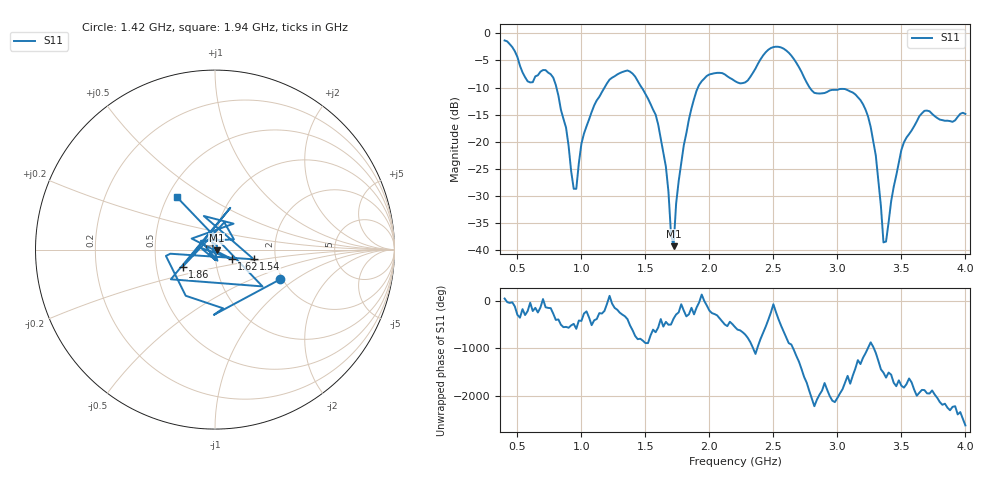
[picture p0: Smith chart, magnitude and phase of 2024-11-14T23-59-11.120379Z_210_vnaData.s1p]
!Created with skrf (http://scikit-rf.org).
# Hz S RI R 50.0
!freq ReS11 ImS11
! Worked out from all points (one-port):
!   181 points, 400 MHz to 4 GHz, reference 50 ohm
!   lowest |S11| = -39.3 dB at 1.72 GHz (marker M1), VSWR 1.02, Z = 51 - j0.382 ohm
!   |S11| at or under -10 dB: 804.8 MHz to 1.181 GHz (376.3 MHz wide, 37.9 % of centre); 1.471 GHz to 1.911 GHz (439.9 MHz wide, 26 % of centre); 2.783 GHz to end of sweep
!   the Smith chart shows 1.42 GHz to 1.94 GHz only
!   S11 on the Smith chart (normalised r, x): 1.42 GHz: 1.94, -0.76; 1.54 GHz: 1.54, -0.18; 1.62 GHz: 1.20, -0.13; 1.86 GHz: 0.68, -0.14; 1.94 GHz: 0.56, +0.38
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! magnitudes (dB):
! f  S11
! 400 MHz  -1.3
! 580 MHz  -8.9
! 780 MHz  -8.2
! 860 MHz  -15.8
! 960 MHz  -28.7
! 1 GHz  -20.4
! 1.08 GHz  -14.5
! 1.3 GHz  -7.3
! 1.42 GHz  -8.0
! 1.54 GHz  -13.0
! 1.62 GHz  -19.5
! 1.66 GHz  -24.6
! 1.72 GHz  -39.3
! 1.76 GHz  -27.3
! 1.86 GHz  -13.9
! 1.94 GHz  -8.8
! 2.2 GHz  -8.8
! 2.48 GHz  -2.7
! 2.66 GHz  -4.7
! 2.82 GHz  -11.0
! 3.1 GHz  -10.7
! 3.26 GHz  -17.3
! 3.3 GHz  -22.5
! 3.36 GHz  -38.6
! 3.5 GHz  -21.5
! 3.56 GHz  -18.6
! 3.68 GHz  -14.3
! 4 GHz  -14.9
